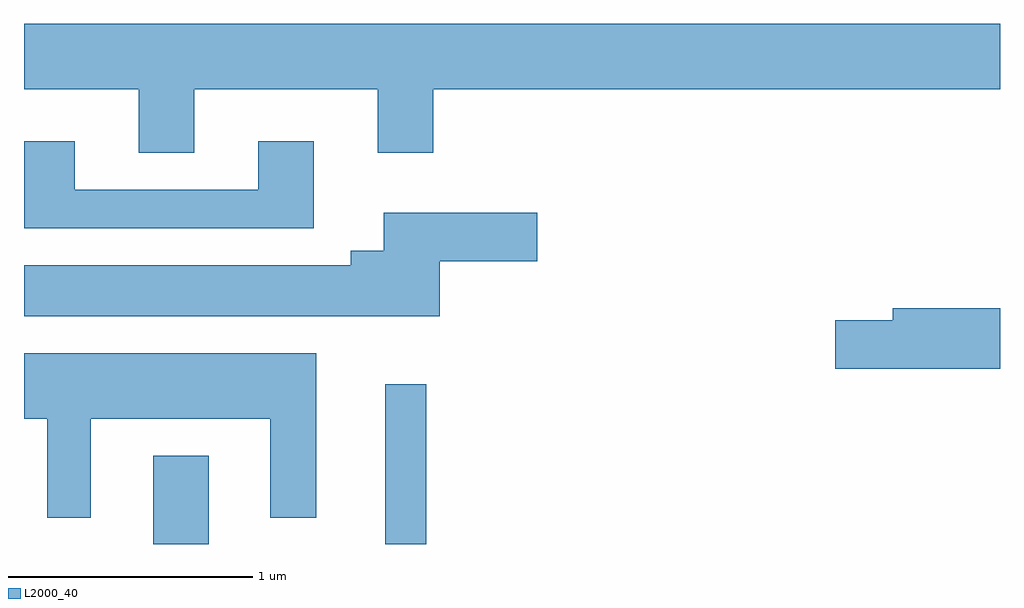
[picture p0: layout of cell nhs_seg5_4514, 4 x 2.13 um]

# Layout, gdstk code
import gdstk
lib = gdstk.Library(unit=1e-6, precision=1e-09)
def R(c, l, rs):  # rectangles x0, y0, x1, y1
    for r in rs: c.add(gdstk.rectangle(r[:2], r[2:], *l))
def P(c, l, *ps):  # polygons
    for p in ps: c.add(gdstk.Polygon(p, *l))
L2000_40 = (2000, 40)

nhs_seg5_4514 = lib.new_cell('nhs_seg5_4514')
R(nhs_seg5_4514, L2000_40, [(320.141,1426.072,320.369,1426.434), (321.091,1426.072,321.259,1426.728)])
P(nhs_seg5_4514, L2000_40, [(319.611,1427.936),(320.081,1427.936),(320.081,1427.676),(320.309,1427.676),(320.309,1427.936),(321.061,1427.936),(321.061,1427.676),(321.289,1427.676),(321.289,1427.936),(323.611,1427.936),(323.611,1428.204),(319.611,1428.204)],
  [(320.799,1427.724),(320.571,1427.724),(320.571,1427.524),(319.819,1427.524),(319.819,1427.724),(319.611,1427.724),(319.611,1427.366),(320.799,1427.366)],
  [(321.314,1427.231),(321.714,1427.231),(321.714,1427.429),(321.086,1427.429),(321.086,1427.274),(320.951,1427.274),(320.951,1427.214),(319.611,1427.214),(319.611,1427.006),(321.314,1427.006)],
  [(323.611,1427.039),(323.171,1427.039),(323.171,1426.989),(322.936,1426.989),(322.936,1426.791),(323.611,1426.791)],
  [(319.884,1426.586),(320.621,1426.586),(320.621,1426.181),(320.809,1426.181),(320.809,1426.854),(319.611,1426.854),(319.611,1426.586),(319.706,1426.586),(319.706,1426.181),(319.884,1426.181)])

lib.write_gds('nhs_seg5_4514.gds')
